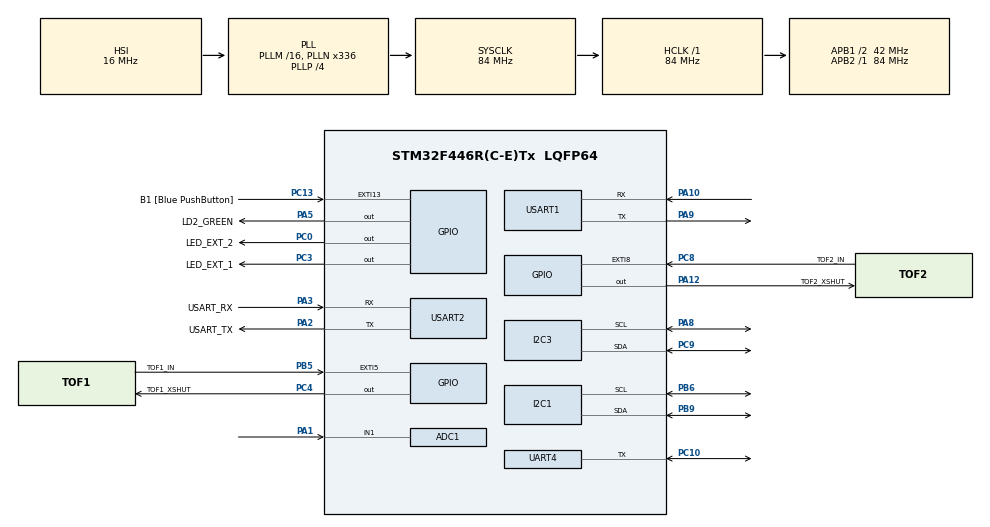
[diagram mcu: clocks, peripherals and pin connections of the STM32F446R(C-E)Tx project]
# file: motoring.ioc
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ADC1.Channel-0\#ChannelRegularConversion=ADC_CHANNEL_1
ADC1.NbrOfConversionFlag=1
ADC1.Rank-0\#ChannelRegularConversion=1
ADC1.SamplingTime-0\#ChannelRegularConversion=ADC_SAMPLETIME_3CYCLES
ADC1.master=1
Dma.Request0=USART1_RX
Dma.USART1_RX.0.Direction=DMA_PERIPH_TO_MEMORY
Dma.USART1_RX.0.FIFOMode=DMA_FIFOMODE_DISABLE
Dma.USART1_RX.0.Instance=DMA2_Stream2
Dma.USART1_RX.0.MemDataAlignment=DMA_MDATAALIGN_BYTE
Dma.USART1_RX.0.MemInc=DMA_MINC_ENABLE
Dma.USART1_RX.0.Mode=DMA_NORMAL
Dma.USART1_RX.0.PeriphDataAlignment=DMA_PDATAALIGN_BYTE
Dma.USART1_RX.0.PeriphInc=DMA_PINC_DISABLE
Dma.USART1_RX.0.Priority=DMA_PRIORITY_LOW
Mcu.Family=STM32F4
Mcu.Name=STM32F446R(C-E)Tx
Mcu.Package=LQFP64
NVIC.DMA2_Stream2_IRQn=true\:0\:0\:false\:false\:true\:false\:true\:true
NVIC.PriorityGroup=NVIC_PRIORITYGROUP_0
NVIC.TIM2_IRQn=true\:0\:0\:false\:false\:true\:true\:true\:true
PA1.Signal=ADCx_IN1
PA10.Mode=Asynchronous
PA10.Signal=USART1_RX
PA12.GPIO_Label=TOF2_XSHUT
PA12.Signal=GPIO_Output
PA13.GPIO_Label=TMS
PA13.Mode=Serial_Wire
PA13.Signal=SYS_JTMS-SWDIO
PA14.GPIO_Label=TCK
PA14.Mode=Serial_Wire
PA14.Signal=SYS_JTCK-SWCLK
PA2.GPIO_Label=USART_TX
PA2.Mode=Asynchronous
PA2.Signal=USART2_TX
PA3.GPIO_Label=USART_RX
PA3.Mode=Asynchronous
PA3.Signal=USART2_RX
PA5.GPIO_Label=LD2_GREEN
PA5.Signal=GPIO_Output
PA8.Mode=I2C
PA8.Signal=I2C3_SCL
PA9.Mode=Asynchronous
PA9.Signal=USART1_TX
PB3.GPIO_Label=SWO
PB3.Signal=SYS_JTDO-SWO
PB5.GPIO_Label=TOF1_IN
PB5.Signal=GPXTI5
PB6.Mode=I2C
PB6.Signal=I2C1_SCL
PB9.Mode=I2C
PB9.Signal=I2C1_SDA
PC0.GPIO_Label=LED_EXT_2
PC0.Signal=GPIO_Output
PC10.GPIO_ModeDefaultOD=GPIO_MODE_AF_PP
PC10.GPIO_PuPd=GPIO_PULLUP
PC10.Mode=Half_duplex(single_wire_mode)
PC10.Signal=UART4_TX
PC13.GPIO_Label=B1 [Blue PushButton]
PC13.GPIO_ModeDefaultEXTI=GPIO_MODE_IT_FALLING
PC13.Signal=GPXTI13
PC14-OSC32_IN.Mode=LSE-External-Oscillator
PC14-OSC32_IN.Signal=RCC_OSC32_IN
PC15-OSC32_OUT.Mode=LSE-External-Oscillator
PC15-OSC32_OUT.Signal=RCC_OSC32_OUT
PC3.GPIO_Label=LED_EXT_1
PC3.Signal=GPIO_Output
PC4.GPIO_Label=TOF1_XSHUT
PC4.Signal=GPIO_Output
PC8.GPIO_Label=TOF2_IN
PC8.Signal=GPXTI8
PC9.Mode=I2C
PC9.Signal=I2C3_SDA
PH0-OSC_IN.Mode=HSE-External-Oscillator
PH0-OSC_IN.Signal=RCC_OSC_IN
PH1-OSC_OUT.Mode=HSE-External-Oscillator
PH1-OSC_OUT.Signal=RCC_OSC_OUT
ProjectManager.HeapSize=0x200
ProjectManager.StackSize=0x400
ProjectManager.TargetToolchain=STM32CubeIDE
RCC.48MHZClocksFreq_Value=84000000
RCC.AHBFreq_Value=84000000
RCC.APB1CLKDivider=RCC_HCLK_DIV2
RCC.APB1Freq_Value=42000000
RCC.APB1TimFreq_Value=84000000
RCC.APB2Freq_Value=84000000
RCC.APB2TimFreq_Value=84000000
RCC.CortexFreq_Value=84000000
RCC.FLatency-AdvancedSettings=FLASH_LATENCY_2
RCC.HCLKFreq_Value=84000000
RCC.HSE_VALUE=8000000
RCC.HSI_VALUE=16000000
RCC.PLLN=336
RCC.PLLP=RCC_PLLP_DIV4
RCC.SYSCLKFreq_VALUE=84000000
RCC.SYSCLKSource=RCC_SYSCLKSOURCE_PLLCLK
RCC.USBFreq_Value=168000000
RCC.VCOOutputFreq_Value=336000000
SH.ADCx_IN1.0=ADC1_IN1,IN1
TIM2.Period=84000
TIM2.Prescaler=1000
UART4.BaudRate=1000000
UART4.VirtualMode=Asynchronous
USART1.VirtualMode=VM_ASYNC
USART2.VirtualMode=VM_ASYNC
VP_TIM2_VS_ClockSourceINT.Mode=Internal
board=NUCLEO-F446RE

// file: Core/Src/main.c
/* USER CODE BEGIN Header */
/**
 ******************************************************************************
 * @file           : main.c
 * @brief          : Main program body
 ******************************************************************************
 * @attention
 *
 * Copyright (c) 2023 STMicroelectronics.
 * All rights reserved.
 *
 * This software is licensed under terms that can be found in the LICENSE file
 * in the root directory of this software component.
 * If no LICENSE file comes with this software, it is provided AS-IS.
 *
 ******************************************************************************
 */
/* USER CODE END Header */
#include "main.h"

/* USER CODE BEGIN Includes */
#include <stdio.h>
#include <stdlib.h>
#include <inttypes.h>

#include "demos.h"
#include "esp_ax12a.h"
#include "esp_arm.h"
#include "esp_fsm.h"
#include "util.h"
/* USER CODE END Includes */

ADC_HandleTypeDef hadc1;

I2C_HandleTypeDef hi2c1;
I2C_HandleTypeDef hi2c3;

TIM_HandleTypeDef htim2;

UART_HandleTypeDef huart4;
UART_HandleTypeDef huart1;
UART_HandleTypeDef huart2;
DMA_HandleTypeDef hdma_usart1_rx;

/* USER CODE BEGIN PV */
uint8_t buf_RX[Size];
uint8_t buf_TX[Size];

/* USER CODE END PV */

void SystemClock_Config(void);
static void MX_GPIO_Init(void);
static void MX_DMA_Init(void);
static void MX_USART2_UART_Init(void);
static void MX_UART4_Init(void);
static void MX_I2C1_Init(void);
static void MX_USART1_UART_Init(void);
static void MX_TIM2_Init(void);
static void MX_I2C3_Init(void);
static void MX_ADC1_Init(void);

/* USER CODE BEGIN 0 */
int _write(int file, char *ptr, int len)

{   int DataIdx;

for(DataIdx = 0; DataIdx < len; DataIdx ++)

{
	ITM_SendChar(*ptr ++);
}

return len;

}

/* USER CODE END 0 */

int main(void)
{

  /* MCU Configuration--------------------------------------------------------*/

  /* Reset of all peripherals, Initializes the Flash interface and the Systick. */
  HAL_Init();

  /* Configure the system clock */
  SystemClock_Config();

  /* Initialize all configured peripherals */
  MX_GPIO_Init();
  MX_DMA_Init();
  MX_USART2_UART_Init();
  MX_UART4_Init();
  MX_I2C1_Init();
  MX_USART1_UART_Init();
  MX_TIM2_Init();
  MX_I2C3_Init();
  MX_ADC1_Init();
  /* USER CODE BEGIN 2 */
	ax_init(&huart4, NULL);

	//Start Bluetooth usart via DMA
	HAL_UART_Transmit(&huart1, (uint8_t*)"STM -> PMOD \r\n", sizeof("STM -> PMOD \r\n"), HAL_MAX_DELAY);
	HAL_UART_Receive_DMA (&huart1, buf_RX, 9);

	HAL_TIM_Base_Start_IT(&htim2);

	// Start main functionality (state machine)
	arm_start_sm();

  /* USER CODE END 2 */

  /* Infinite loop */
	while (1)
	{

	}
}

void SystemClock_Config(void)
{
  RCC_OscInitTypeDef RCC_OscInitStruct = {0};
  RCC_ClkInitTypeDef RCC_ClkInitStruct = {0};

  /** Configure the main internal regulator output voltage
  */
  __HAL_RCC_PWR_CLK_ENABLE();
  __HAL_PWR_VOLTAGESCALING_CONFIG(PWR_REGULATOR_VOLTAGE_SCALE3);

  /** Initializes the RCC Oscillators according to the specified parameters
  * in the RCC_OscInitTypeDef structure.
  */
  RCC_OscInitStruct.OscillatorType = RCC_OSCILLATORTYPE_HSI;
  RCC_OscInitStruct.HSIState = RCC_HSI_ON;
  RCC_OscInitStruct.HSICalibrationValue = RCC_HSICALIBRATION_DEFAULT;
  RCC_OscInitStruct.PLL.PLLState = RCC_PLL_ON;
  RCC_OscInitStruct.PLL.PLLSource = RCC_PLLSOURCE_HSI;
  RCC_OscInitStruct.PLL.PLLM = 16;
  RCC_OscInitStruct.PLL.PLLN = 336;
  RCC_OscInitStruct.PLL.PLLP = RCC_PLLP_DIV4;
  RCC_OscInitStruct.PLL.PLLQ = 2;
  RCC_OscInitStruct.PLL.PLLR = 2;
  if (HAL_RCC_OscConfig(&RCC_OscInitStruct) != HAL_OK)
  {
    Error_Handler();
  }

  /** Initializes the CPU, AHB and APB buses clocks
  */
  RCC_ClkInitStruct.ClockType = RCC_CLOCKTYPE_HCLK|RCC_CLOCKTYPE_SYSCLK
                              |RCC_CLOCKTYPE_PCLK1|RCC_CLOCKTYPE_PCLK2;
  RCC_ClkInitStruct.SYSCLKSource = RCC_SYSCLKSOURCE_PLLCLK;
  RCC_ClkInitStruct.AHBCLKDivider = RCC_SYSCLK_DIV1;
  RCC_ClkInitStruct.APB1CLKDivider = RCC_HCLK_DIV2;
  RCC_ClkInitStruct.APB2CLKDivider = RCC_HCLK_DIV1;

  if (HAL_RCC_ClockConfig(&RCC_ClkInitStruct, FLASH_LATENCY_2) != HAL_OK)
  {
    Error_Handler();
  }
}

static void MX_ADC1_Init(void)
{

  ADC_ChannelConfTypeDef sConfig = {0};

  /** Configure the global features of the ADC (Clock, Resolution, Data Alignment and number of conversion)
  */
  hadc1.Instance = ADC1;
  hadc1.Init.ClockPrescaler = ADC_CLOCK_SYNC_PCLK_DIV4;
  hadc1.Init.Resolution = ADC_RESOLUTION_12B;
  hadc1.Init.ScanConvMode = DISABLE;
  hadc1.Init.ContinuousConvMode = DISABLE;
  hadc1.Init.DiscontinuousConvMode = DISABLE;
  hadc1.Init.ExternalTrigConvEdge = ADC_EXTERNALTRIGCONVEDGE_NONE;
  hadc1.Init.ExternalTrigConv = ADC_SOFTWARE_START;
  hadc1.Init.DataAlign = ADC_DATAALIGN_RIGHT;
  hadc1.Init.NbrOfConversion = 1;
  hadc1.Init.DMAContinuousRequests = DISABLE;
  hadc1.Init.EOCSelection = ADC_EOC_SINGLE_CONV;
  if (HAL_ADC_Init(&hadc1) != HAL_OK)
  {
    Error_Handler();
  }

  /** Configure for the selected ADC regular channel its corresponding rank in the sequencer and its sample time.
  */
  sConfig.Channel = ADC_CHANNEL_1;
  sConfig.Rank = 1;
  sConfig.SamplingTime = ADC_SAMPLETIME_3CYCLES;
  if (HAL_ADC_ConfigChannel(&hadc1, &sConfig) != HAL_OK)
  {
    Error_Handler();
  }

}

static void MX_I2C1_Init(void)
{

  hi2c1.Instance = I2C1;
  hi2c1.Init.ClockSpeed = 100000;
  hi2c1.Init.DutyCycle = I2C_DUTYCYCLE_2;
  hi2c1.Init.OwnAddress1 = 0;
  hi2c1.Init.AddressingMode = I2C_ADDRESSINGMODE_7BIT;
  hi2c1.Init.DualAddressMode = I2C_DUALADDRESS_DISABLE;
  hi2c1.Init.OwnAddress2 = 0;
  hi2c1.Init.GeneralCallMode = I2C_GENERALCALL_DISABLE;
  hi2c1.Init.NoStretchMode = I2C_NOSTRETCH_DISABLE;
  if (HAL_I2C_Init(&hi2c1) != HAL_OK)
  {
    Error_Handler();
  }

}

static void MX_I2C3_Init(void)
{

  hi2c3.Instance = I2C3;
  hi2c3.Init.ClockSpeed = 100000;
  hi2c3.Init.DutyCycle = I2C_DUTYCYCLE_2;
  hi2c3.Init.OwnAddress1 = 0;
  hi2c3.Init.AddressingMode = I2C_ADDRESSINGMODE_7BIT;
  hi2c3.Init.DualAddressMode = I2C_DUALADDRESS_DISABLE;
  hi2c3.Init.OwnAddress2 = 0;
  hi2c3.Init.GeneralCallMode = I2C_GENERALCALL_DISABLE;
  hi2c3.Init.NoStretchMode = I2C_NOSTRETCH_DISABLE;
  if (HAL_I2C_Init(&hi2c3) != HAL_OK)
  {
    Error_Handler();
  }

}

static void MX_TIM2_Init(void)
{

  TIM_ClockConfigTypeDef sClockSourceConfig = {0};
  TIM_MasterConfigTypeDef sMasterConfig = {0};

  htim2.Instance = TIM2;
  htim2.Init.Prescaler = 1000;
  htim2.Init.CounterMode = TIM_COUNTERMODE_UP;
  htim2.Init.Period = 84000;
  htim2.Init.ClockDivision = TIM_CLOCKDIVISION_DIV1;
  htim2.Init.AutoReloadPreload = TIM_AUTORELOAD_PRELOAD_DISABLE;
  if (HAL_TIM_Base_Init(&htim2) != HAL_OK)
  {
    Error_Handler();
  }
  sClockSourceConfig.ClockSource = TIM_CLOCKSOURCE_INTERNAL;
  if (HAL_TIM_ConfigClockSource(&htim2, &sClockSourceConfig) != HAL_OK)
  {
    Error_Handler();
  }
  sMasterConfig.MasterOutputTrigger = TIM_TRGO_RESET;
  sMasterConfig.MasterSlaveMode = TIM_MASTERSLAVEMODE_DISABLE;
  if (HAL_TIMEx_MasterConfigSynchronization(&htim2, &sMasterConfig) != HAL_OK)
  {
    Error_Handler();
  }

}

static void MX_UART4_Init(void)
{

  huart4.Instance = UART4;
  huart4.Init.BaudRate = 1000000;
  huart4.Init.WordLength = UART_WORDLENGTH_8B;
  huart4.Init.StopBits = UART_STOPBITS_1;
  huart4.Init.Parity = UART_PARITY_NONE;
  huart4.Init.Mode = UART_MODE_TX_RX;
  huart4.Init.HwFlowCtl = UART_HWCONTROL_NONE;
  huart4.Init.OverSampling = UART_OVERSAMPLING_16;
  if (HAL_HalfDuplex_Init(&huart4) != HAL_OK)
  {
    Error_Handler();
  }

}

static void MX_USART1_UART_Init(void)
{

  huart1.Instance = USART1;
  huart1.Init.BaudRate = 115200;
  huart1.Init.WordLength = UART_WORDLENGTH_8B;
  huart1.Init.StopBits = UART_STOPBITS_1;
  huart1.Init.Parity = UART_PARITY_NONE;
  huart1.Init.Mode = UART_MODE_TX_RX;
  huart1.Init.HwFlowCtl = UART_HWCONTROL_NONE;
  huart1.Init.OverSampling = UART_OVERSAMPLING_16;
  if (HAL_UART_Init(&huart1) != HAL_OK)
  {
    Error_Handler();
  }

}

static void MX_USART2_UART_Init(void)
{

  huart2.Instance = USART2;
  huart2.Init.BaudRate = 115200;
  huart2.Init.WordLength = UART_WORDLENGTH_8B;
  huart2.Init.StopBits = UART_STOPBITS_1;
  huart2.Init.Parity = UART_PARITY_NONE;
  huart2.Init.Mode = UART_MODE_TX_RX;
  huart2.Init.HwFlowCtl = UART_HWCONTROL_NONE;
  huart2.Init.OverSampling = UART_OVERSAMPLING_16;
  if (HAL_UART_Init(&huart2) != HAL_OK)
  {
    Error_Handler();
  }

}

static void MX_DMA_Init(void)
{

  /* DMA controller clock enable */
  __HAL_RCC_DMA2_CLK_ENABLE();

  /* DMA interrupt init */
  /* DMA2_Stream2_IRQn interrupt configuration */
  HAL_NVIC_SetPriority(DMA2_Stream2_IRQn, 0, 0);
  HAL_NVIC_EnableIRQ(DMA2_Stream2_IRQn);

}

static void MX_GPIO_Init(void)
{
  GPIO_InitTypeDef GPIO_InitStruct = {0};

  /* GPIO Ports Clock Enable */
  __HAL_RCC_GPIOC_CLK_ENABLE();
  __HAL_RCC_GPIOH_CLK_ENABLE();
  __HAL_RCC_GPIOA_CLK_ENABLE();
  __HAL_RCC_GPIOB_CLK_ENABLE();

  /*Configure GPIO pin Output Level */
  HAL_GPIO_WritePin(GPIOC, LED_EXT_2_Pin|LED_EXT_1_Pin|TOF1_XSHUT_Pin, GPIO_PIN_RESET);

  /*Configure GPIO pin Output Level */
  HAL_GPIO_WritePin(GPIOA, LD2_GREEN_Pin|TOF2_XSHUT_Pin, GPIO_PIN_RESET);

  /*Configure GPIO pin : B1_Pin */
  GPIO_InitStruct.Pin = B1_Pin;
  GPIO_InitStruct.Mode = GPIO_MODE_IT_FALLING;
  GPIO_InitStruct.Pull = GPIO_NOPULL;
  HAL_GPIO_Init(B1_GPIO_Port, &GPIO_InitStruct);

  /*Configure GPIO pins : LED_EXT_2_Pin LED_EXT_1_Pin TOF1_XSHUT_Pin */
  GPIO_InitStruct.Pin = LED_EXT_2_Pin|LED_EXT_1_Pin|TOF1_XSHUT_Pin;
  GPIO_InitStruct.Mode = GPIO_MODE_OUTPUT_PP;
  GPIO_InitStruct.Pull = GPIO_NOPULL;
  GPIO_InitStruct.Speed = GPIO_SPEED_FREQ_LOW;
  HAL_GPIO_Init(GPIOC, &GPIO_InitStruct);

  /*Configure GPIO pins : LD2_GREEN_Pin TOF2_XSHUT_Pin */
  GPIO_InitStruct.Pin = LD2_GREEN_Pin|TOF2_XSHUT_Pin;
  GPIO_InitStruct.Mode = GPIO_MODE_OUTPUT_PP;
  GPIO_InitStruct.Pull = GPIO_NOPULL;
  GPIO_InitStruct.Speed = GPIO_SPEED_FREQ_LOW;
  HAL_GPIO_Init(GPIOA, &GPIO_InitStruct);

  /*Configure GPIO pin : TOF2_IN_Pin */
  GPIO_InitStruct.Pin = TOF2_IN_Pin;
  GPIO_InitStruct.Mode = GPIO_MODE_IT_RISING;
  GPIO_InitStruct.Pull = GPIO_NOPULL;
  HAL_GPIO_Init(TOF2_IN_GPIO_Port, &GPIO_InitStruct);

  /*Configure GPIO pin : TOF1_IN_Pin */
  GPIO_InitStruct.Pin = TOF1_IN_Pin;
  GPIO_InitStruct.Mode = GPIO_MODE_IT_RISING;
  GPIO_InitStruct.Pull = GPIO_NOPULL;
  HAL_GPIO_Init(TOF1_IN_GPIO_Port, &GPIO_InitStruct);

}

void Error_Handler(void)
{
  /* USER CODE BEGIN Error_Handler_Debug */
	/* User can add his own implementation to report the HAL error return state */
	printf("Got error\n");
	__disable_irq();
	while (1)
	{
	}
  /* USER CODE END Error_Handler_Debug */
}
